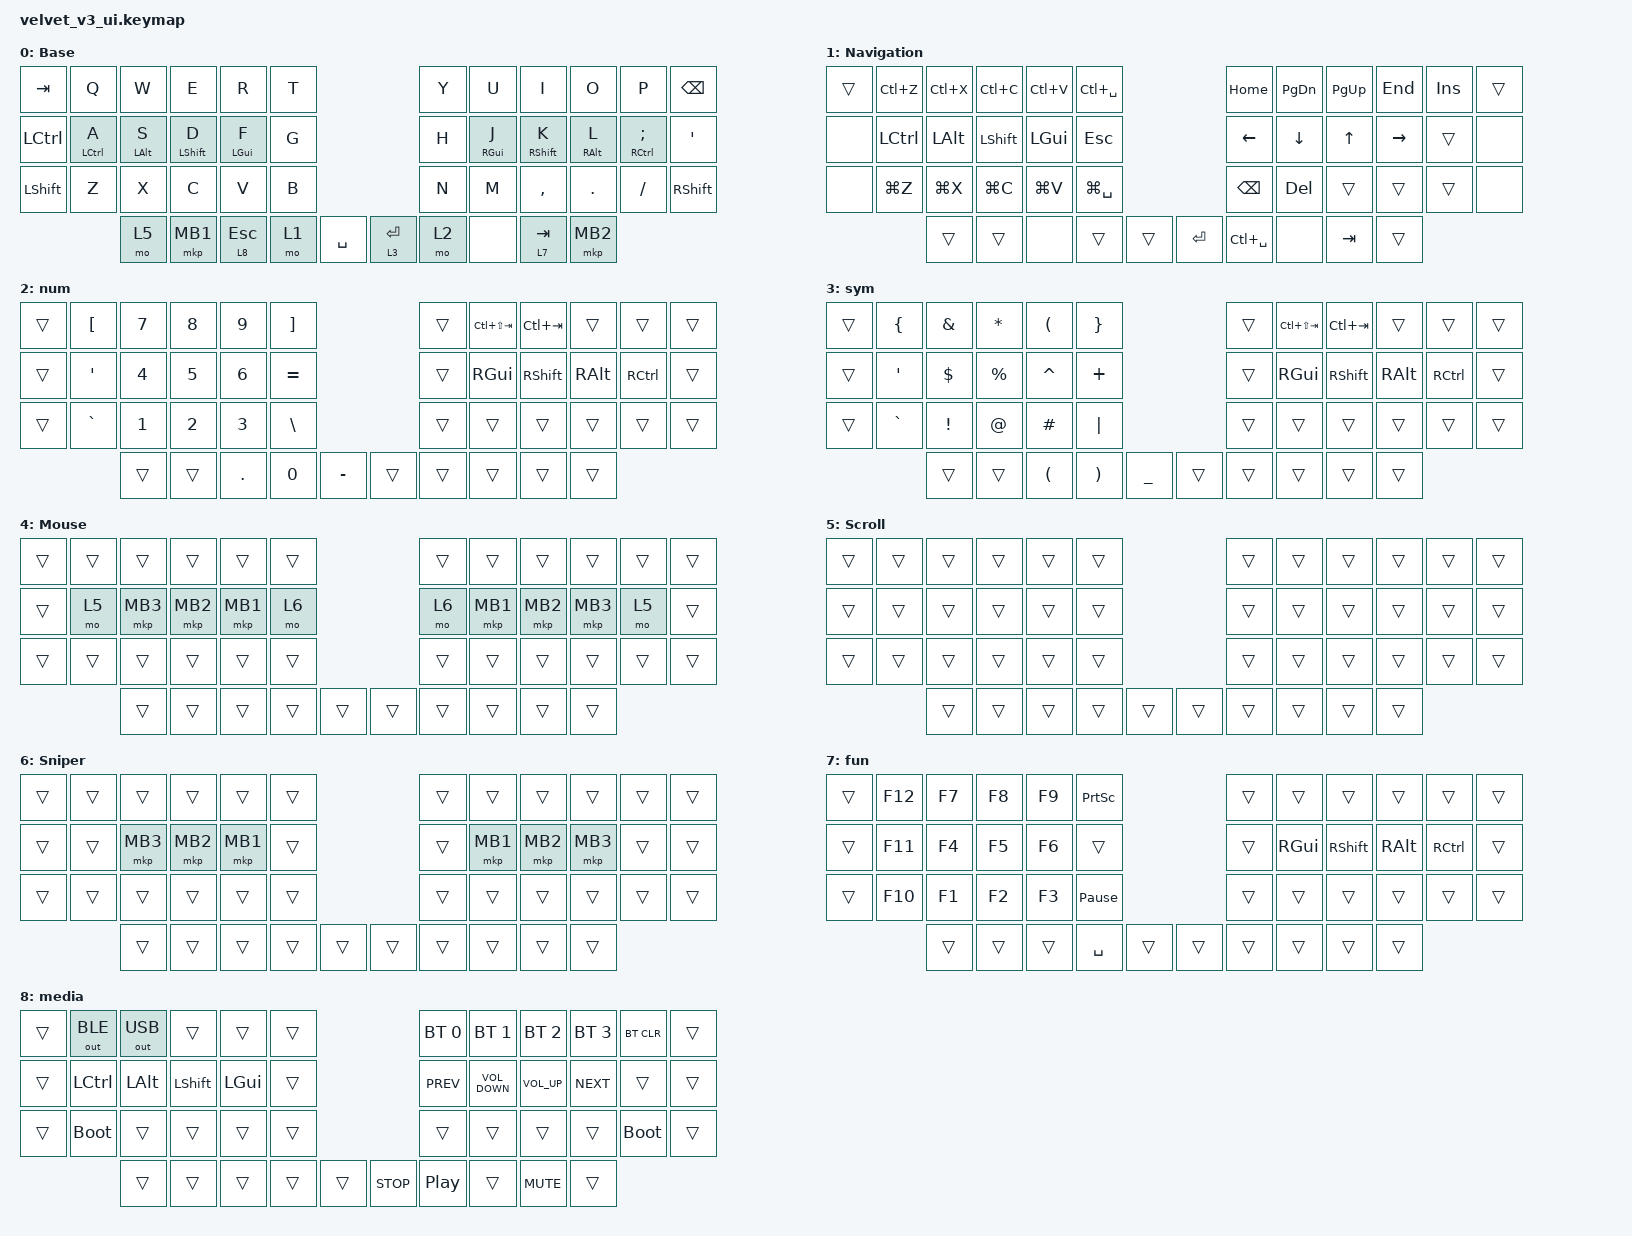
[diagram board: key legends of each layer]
#include "keys_ru.h"
#include <dt-bindings/zmk/input_transform.h>
#include <input/processors.dtsi>
#include <zephyr/dt-bindings/input/input-event-codes.h>
#include <behaviors.dtsi>
#include <dt-bindings/zmk/bt.h>
#include <dt-bindings/zmk/keys.h>
#include <dt-bindings/zmk/outputs.h>
#include <dt-bindings/zmk/pointing.h>

&lt {
    tapping-term-ms = <300>;
    flavor = "hold-preferred";
};

/ {
    behaviors {
        cap_sen: cap_sen {
            compatible = "zmk,behavior-hold-tap";
            label = "CAP_SEN";
            bindings = <&mo>, <&mkp>;

            #binding-cells = <2>;
            tapping-term-ms = <150>;
            hold-while-undecided;
        };

        ms_t: ms_t {
            compatible = "zmk,behavior-hold-tap";
            label = "Layer click";
            bindings = <&mo>, <&mkp>;

            #binding-cells = <2>;
            tapping-term-ms = <200>;
            flavor = "hold-preferred";
        };

        hml: hml {
            compatible = "zmk,behavior-hold-tap";
            label = "HML";
            bindings = <&kp>, <&kp>;

            #binding-cells = <2>;
            tapping-term-ms = <300>;
            quick-tap-ms = <175>;
            require-prior-idle-ms = <150>;
            flavor = "balanced";
            hold-trigger-on-release;
            hold-trigger-key-positions = <6 7 8 9 10 11 18 19 20 21 22 23 30 31 32 33 34 35 41 42 43 44 45>;
        };

        hmr: hmr {
            compatible = "zmk,behavior-hold-tap";
            label = "HMR";
            bindings = <&kp>, <&kp>;

            #binding-cells = <2>;
            tapping-term-ms = <300>;
            quick-tap-ms = <175>;
            require-prior-idle-ms = <150>;
            flavor = "balanced";
            hold-trigger-on-release;
            hold-trigger-key-positions = <0 1 2 3 4 5 12 13 14 15 16 17 24 25 26 27 28 29 36 37 38 39 40>;
        };
    };

    combos { compatible = "zmk,combos"; };

    macros {
        exit: exit {
            compatible = "zmk,behavior-macro";
            #binding-cells = <0>;
            bindings = <&kp K &kp I &kp L &kp L &kp SPACE &kp MINUS &kp N9 &kp SPACE &kp DLLR &kp DLLR>;
            label = "EXIT";
        };
    };

    keymap {
        compatible = "zmk,keymap";

        base {
            bindings = <
&kp TAB    &kp Q         &kp W        &kp E          &kp R        &kp T                            &kp Y  &kp U        &kp I          &kp O        &kp P            &kp BSPC
&kp LCTRL  &hml LCTRL A  &hml LALT S  &hml LSHIFT D  &hml LGUI F  &kp G                            &kp H  &hmr RGUI J  &hmr RSHIFT K  &hmr RALT L  &hmr RCTRL SEMI  &kp SQT
&kp LSHFT  &kp Z         &kp X        &kp C          &kp V        &kp B                            &kp N  &kp M        &kp COMMA      &kp DOT      &kp FSLH         &kp RSHFT
                         &mo 5        &mkp MB1       &lt 8 ESC    &mo 1  &kp SPACE    &lt 3 ENTER  &mo 2  &none        &lt 7 TAB      &mkp MB2
            >;

            display-name = "Base";
        };

        nav {
            bindings = <
&trans  &kp LC(Z)  &kp LC(X)  &kp LC(C)  &kp LC(V)  &kp LC(SPACE)                       &kp HOME       &kp PG_DN       &kp PG_UP  &kp END    &kp INS  &trans
&none   &kp LCTRL  &kp LALT   &kp LSHFT  &kp LGUI   &kp ESC                             &kp LEFT       &kp DOWN_ARROW  &kp UP     &kp RIGHT  &trans   &none
&none   &kp LG(Z)  &kp LG(X)  &kp LG(C)  &kp LG(V)  &kp LG(SPACE)                       &kp BACKSPACE  &kp DEL         &trans     &trans     &trans   &none
                   &trans     &trans     &none      &trans         &trans    &kp ENTER  &kp LC(SPACE)  &none           &kp TAB    &trans
            >;

            display-name = "Navigation";
        };

        num {
            bindings = <
&trans  &kp LBKT   &kp N7  &kp N8  &kp N9   &kp RBKT                        &trans  &kp LC(LS(TAB))  &kp LC(TAB)  &trans    &trans     &trans
&trans  &kp SQT    &kp N4  &kp N5  &kp N6   &kp EQUAL                       &trans  &kp RGUI         &kp RSHFT    &kp RALT  &kp RCTRL  &trans
&trans  &kp GRAVE  &kp N1  &kp N2  &kp N3   &kp BSLH                        &trans  &trans           &trans       &trans    &trans     &trans
                   &trans  &trans  &kp DOT  &kp N0     &kp MINUS    &trans  &trans  &trans           &trans       &trans
            >;
        };

        sym {
            bindings = <
&trans  &kp LEFT_BRACE  &kp AMPERSAND  &kp ASTRK    &kp LPAR   &kp RIGHT_BRACE                       &trans  &kp LC(LS(TAB))  &kp LC(TAB)  &trans    &trans     &trans
&trans  &kp SQT         &kp DOLLAR     &kp PRCNT    &kp CARET  &kp PLUS                              &trans  &kp RGUI         &kp RSHFT    &kp RALT  &kp RCTRL  &trans
&trans  &kp GRAVE       &kp EXCL       &kp AT_SIGN  &kp HASH   &kp PIPE                              &trans  &trans           &trans       &trans    &trans     &trans
                        &trans         &trans       &kp LPAR   &kp RPAR         &kp UNDER    &trans  &trans  &trans           &trans       &trans
            >;
        };

        mouse {
            bindings = <
&trans  &trans  &trans    &trans    &trans    &trans                    &trans  &trans    &trans    &trans    &trans  &trans
&trans  &mo 5   &mkp MB3  &mkp MB2  &mkp MB1  &mo 6                     &mo 6   &mkp MB1  &mkp MB2  &mkp MB3  &mo 5   &trans
&trans  &trans  &trans    &trans    &trans    &trans                    &trans  &trans    &trans    &trans    &trans  &trans
                &trans    &trans    &trans    &trans  &trans    &trans  &trans  &trans    &trans    &trans
            >;

            display-name = "Mouse";
        };

        scroll {
            bindings = <
&trans  &trans  &trans  &trans  &trans  &trans                    &trans  &trans  &trans  &trans  &trans  &trans
&trans  &trans  &trans  &trans  &trans  &trans                    &trans  &trans  &trans  &trans  &trans  &trans
&trans  &trans  &trans  &trans  &trans  &trans                    &trans  &trans  &trans  &trans  &trans  &trans
                &trans  &trans  &trans  &trans  &trans    &trans  &trans  &trans  &trans  &trans
            >;

            display-name = "Scroll";
        };

        sniper {
            bindings = <
&trans  &trans  &trans    &trans    &trans    &trans                    &trans  &trans    &trans    &trans    &trans  &trans
&trans  &trans  &mkp MB3  &mkp MB2  &mkp MB1  &trans                    &trans  &mkp MB1  &mkp MB2  &mkp MB3  &trans  &trans
&trans  &trans  &trans    &trans    &trans    &trans                    &trans  &trans    &trans    &trans    &trans  &trans
                &trans    &trans    &trans    &trans  &trans    &trans  &trans  &trans    &trans    &trans
            >;

            display-name = "Sniper";
        };

        fun {
            bindings = <
&trans  &kp F12  &kp F7  &kp F8  &kp F9  &kp PRINTSCREEN                    &trans  &trans    &trans     &trans    &trans     &trans
&trans  &kp F11  &kp F4  &kp F5  &kp F6  &trans                             &trans  &kp RGUI  &kp RSHFT  &kp RALT  &kp RCTRL  &trans
&trans  &kp F10  &kp F1  &kp F2  &kp F3  &kp PAUSE_BREAK                    &trans  &trans    &trans     &trans    &trans     &trans
                 &trans  &trans  &trans  &kp SPACE        &trans    &trans  &trans  &trans    &trans     &trans
            >;
        };

        media {
            bindings = <
&trans  &out OUT_BLE  &out OUT_USB  &trans     &trans    &trans                        &bt BT_SEL 0      &bt BT_SEL 1       &bt BT_SEL 2     &bt BT_SEL 3  &bt BT_CLR   &trans
&trans  &kp LCTRL     &kp LALT      &kp LSHFT  &kp LGUI  &trans                        &kp C_PREV        &kp C_VOLUME_DOWN  &kp C_VOLUME_UP  &kp C_NEXT    &trans       &trans
&trans  &bootloader   &trans        &trans     &trans    &trans                        &trans            &trans             &trans           &trans        &bootloader  &trans
                      &trans        &trans     &trans    &trans  &trans    &kp C_STOP  &kp C_PLAY_PAUSE  &trans             &kp C_MUTE       &trans
            >;
        };
    };
};

&trackball { cpi = <1000>; };

&trackball_listener {
    input-processors = <&zip_xy_scaler 9 20>;

    scroller {
        layers = <5>;
        input-processors =
            <&zip_xy_transform INPUT_TRANSFORM_Y_INVERT>,
            <&zip_xy_scaler 1 32>,
            <&zip_xy_to_scroll_mapper>;
    };

    sniper {
        layers = <6>;
        input-processors = <&zip_xy_scaler 1 4>;
    };
};
